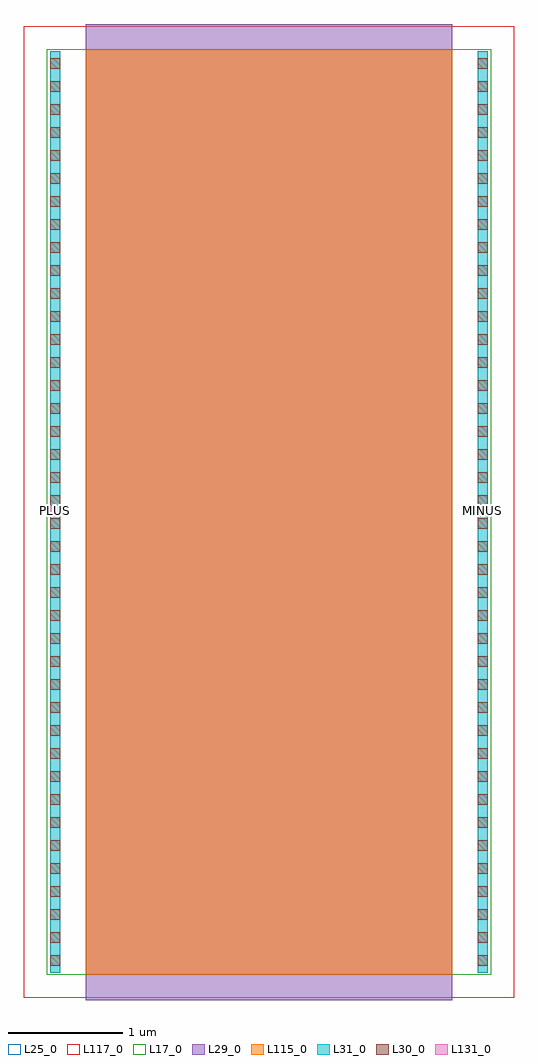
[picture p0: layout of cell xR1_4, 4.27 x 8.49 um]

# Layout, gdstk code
import gdstk
lib = gdstk.Library(unit=1e-6, precision=1e-09)
def R(c, l, rs):  # rectangles x0, y0, x1, y1
    for r in rs: c.add(gdstk.rectangle(r[:2], r[2:], *l))
def A(c, l, x, y, w, h, nx, ny, dx, dy):  # array of equal rectangles
    R(c, l, [(x+i*dx, y+j*dy, x+i*dx+w, y+j*dy+h) for i in range(nx) for j in range(ny)])
L17_0 = (17, 0)
L25_0 = (25, 0)
L29_0 = (29, 0)
L30_0 = (30, 0)
L31_0 = (31, 0)
L115_0 = (115, 0)
L117_0 = (117, 0)
L131_0 = (131, 0)

xr1_4 = lib.new_cell('xR1_4')
R(xr1_4, L17_0, [(0.2,0.22,4.07,8.27)])
R(xr1_4, L25_0, [(0,0.02,4.27,8.47)])
R(xr1_4, L29_0, [(0.54,0,3.73,8.49)])
A(xr1_4, L30_0, 0.23, 0.3, 0.09, 0.09, 1, 40, 0, 0.2)
A(xr1_4, L30_0, 3.95, 0.3, 0.09, 0.09, 1, 40, 0, 0.2)
R(xr1_4, L31_0, [(0.23,0.235,0.32,8.255), (3.95,0.235,4.04,8.255)])
R(xr1_4, L115_0, [(0.54,0.22,3.73,8.27)])
R(xr1_4, L117_0, [(0,0.02,4.27,8.47)])
R(xr1_4, L131_0, [(0.23,4.215,0.32,4.305), (3.95,4.215,4.04,4.305)])
xr1_4.add(gdstk.Label('PLUS', (0.275,4.26), layer=131, texttype=0))
xr1_4.add(gdstk.Label('MINUS', (3.995,4.26), layer=131, texttype=0))

lib.write_gds('xR1_4.gds')
